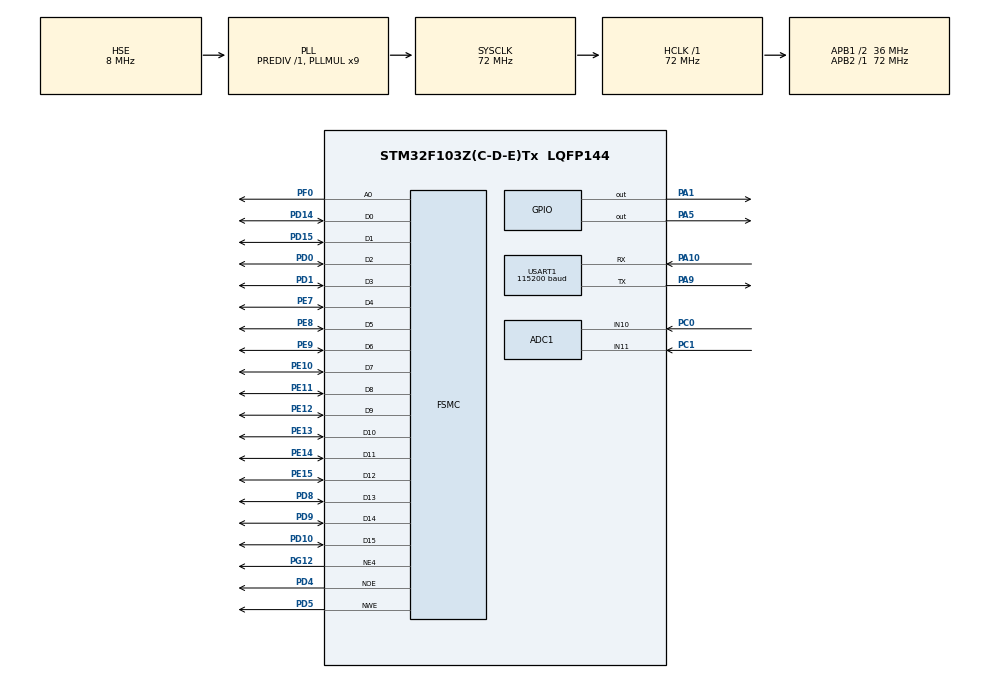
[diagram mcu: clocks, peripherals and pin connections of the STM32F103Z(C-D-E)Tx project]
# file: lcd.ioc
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ADC1.Channel-0\#ChannelRegularConversion=ADC_CHANNEL_11
ADC1.Channel-1\#ChannelRegularConversion=ADC_CHANNEL_10
ADC1.ScanConvMode=ADC_SCAN_ENABLE
ADC1.ExternalTrigConv=ADC_EXTERNALTRIGCONV_T3_TRGO
ADC1.NbrOfConversionFlag=2
ADC1.Rank-0\#ChannelRegularConversion=1
ADC1.Rank-1\#ChannelRegularConversion=2
ADC1.SamplingTime-0\#ChannelRegularConversion=ADC_SAMPLETIME_239CYCLES_5
ADC1.SamplingTime-1\#ChannelRegularConversion=ADC_SAMPLETIME_239CYCLES_5
ADC1.master=1
Dma.ADC1.0.Direction=DMA_PERIPH_TO_MEMORY
Dma.ADC1.0.Instance=DMA1_Channel1
Dma.ADC1.0.MemDataAlignment=DMA_MDATAALIGN_HALFWORD
Dma.ADC1.0.MemInc=DMA_MINC_ENABLE
Dma.ADC1.0.Mode=DMA_CIRCULAR
Dma.ADC1.0.PeriphDataAlignment=DMA_PDATAALIGN_HALFWORD
Dma.ADC1.0.PeriphInc=DMA_PINC_DISABLE
Dma.ADC1.0.Priority=DMA_PRIORITY_HIGH
Dma.Request0=ADC1
FSMC.AddressSetupTime4=15
FSMC.BusTurnAroundDuration4=0
FSMC.DataSetupTime4=60
FSMC.ExtendedAddressSetupTime4=9
FSMC.ExtendedBusTurnAroundDuration4=0
FSMC.ExtendedDataSetupTime4=8
FSMC.ExtendedMode4=FSMC_EXTENDED_MODE_ENABLE
Mcu.Family=STM32F1
Mcu.Name=STM32F103Z(C-D-E)Tx
Mcu.Package=LQFP144
NVIC.ADC1_2_IRQn=true\:0\:0\:false\:false\:true\:true\:true\:true
NVIC.DMA1_Channel1_IRQn=true\:0\:0\:false\:false\:true\:true\:true\:true
NVIC.PriorityGroup=NVIC_PRIORITYGROUP_4
OSC_IN.Mode=HSE-External-Oscillator
OSC_IN.Signal=RCC_OSC_IN
OSC_OUT.Mode=HSE-External-Oscillator
OSC_OUT.Signal=RCC_OSC_OUT
PA1.GPIO_PuPd=GPIO_PULLUP
PA1.GPIO_Speed=GPIO_SPEED_FREQ_HIGH
PA1.PinState=GPIO_PIN_RESET
PA1.Signal=GPIO_Output
PA10.Mode=Asynchronous
PA10.Signal=USART1_RX
PA5.PinState=GPIO_PIN_SET
PA5.Signal=GPIO_Output
PA9.Mode=Asynchronous
PA9.Signal=USART1_TX
PC0.Signal=ADCx_IN10
PC1.Signal=ADCx_IN11
PD0.Signal=FSMC_D2_DA2
PD1.Signal=FSMC_D3_DA3
PD10.Signal=FSMC_D15_DA15
PD14.Signal=FSMC_D0_DA0
PD15.Signal=FSMC_D1_DA1
PD4.Signal=FSMC_NOE
PD5.Signal=FSMC_NWE
PD8.Signal=FSMC_D13_DA13
PD9.Signal=FSMC_D14_DA14
PE10.Signal=FSMC_D7_DA7
PE11.Signal=FSMC_D8_DA8
PE12.Signal=FSMC_D9_DA9
PE13.Signal=FSMC_D10_DA10
PE14.Signal=FSMC_D11_DA11
PE15.Signal=FSMC_D12_DA12
PE7.Signal=FSMC_D4_DA4
PE8.Signal=FSMC_D5_DA5
PE9.Signal=FSMC_D6_DA6
PF0.Signal=FSMC_A0
PG12.Mode=NorPsramChipSelect4_4
PG12.Signal=FSMC_NE4
ProjectManager.HeapSize=0x400
ProjectManager.StackSize=0x800
ProjectManager.TargetToolchain=STM32CubeIDE
RCC.ADCPresc=RCC_ADCPCLK2_DIV6
RCC.AHBFreq_Value=72000000
RCC.APB1CLKDivider=RCC_HCLK_DIV2
RCC.APB1Freq_Value=36000000
RCC.APB1TimFreq_Value=72000000
RCC.APB2Freq_Value=72000000
RCC.APB2TimFreq_Value=72000000
RCC.HCLKFreq_Value=72000000
RCC.PLLMUL=RCC_PLL_MUL9
RCC.PLLSourceVirtual=RCC_PLLSOURCE_HSE
RCC.SYSCLKFreq_VALUE=72000000
RCC.SYSCLKSource=RCC_SYSCLKSOURCE_PLLCLK
RCC.USBFreq_Value=72000000
SH.ADCx_IN10.0=ADC1_IN10,IN10
SH.ADCx_IN11.0=ADC1_IN11,IN11
SH.FSMC_A0.0=FSMC_A0,A0_4
SH.FSMC_D0_DA0.0=FSMC_D0,16b-d4
SH.FSMC_D10_DA10.0=FSMC_D10,16b-d4
SH.FSMC_D11_DA11.0=FSMC_D11,16b-d4
SH.FSMC_D12_DA12.0=FSMC_D12,16b-d4
SH.FSMC_D13_DA13.0=FSMC_D13,16b-d4
SH.FSMC_D14_DA14.0=FSMC_D14,16b-d4
SH.FSMC_D15_DA15.0=FSMC_D15,16b-d4
SH.FSMC_D1_DA1.0=FSMC_D1,16b-d4
SH.FSMC_D2_DA2.0=FSMC_D2,16b-d4
SH.FSMC_D3_DA3.0=FSMC_D3,16b-d4
SH.FSMC_D4_DA4.0=FSMC_D4,16b-d4
SH.FSMC_D5_DA5.0=FSMC_D5,16b-d4
SH.FSMC_D6_DA6.0=FSMC_D6,16b-d4
SH.FSMC_D7_DA7.0=FSMC_D7,16b-d4
SH.FSMC_D8_DA8.0=FSMC_D8,16b-d4
SH.FSMC_D9_DA9.0=FSMC_D9,16b-d4
SH.FSMC_NOE.0=FSMC_NOE,Lcd4
SH.FSMC_NWE.0=FSMC_NWE,Lcd4
TIM3.Period=1999
TIM3.Prescaler=71
TIM3.TIM_MasterOutputTrigger=TIM_TRGO_UPDATE
USART1.BaudRate=115200
USART1.VirtualMode=VM_ASYNC
VP_SYS_VS_SWD.Mode=Serial_Wire
VP_TIM3_VS_ClockSourceINT.Mode=Internal
board=custom

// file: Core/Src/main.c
/* USER CODE BEGIN Header */
/**
  ******************************************************************************
  * @file           : main.c
  * @brief          : Main program body
  ******************************************************************************
  * @attention
  *
  * Copyright (c) 2026 STMicroelectronics.
  * All rights reserved.
  *
  * This software is licensed under terms that can be found in the LICENSE file
  * in the root directory of this software component.
  * If no LICENSE file comes with this software, it is provided AS-IS.
  *
  ******************************************************************************
  */
/* USER CODE END Header */
#include "main.h"
#include "adc.h"
#include "dma.h"
#include "tim.h"
#include "usart.h"
#include "gpio.h"
#include "fsmc.h"

/* USER CODE BEGIN Includes */
#include <stdio.h>
#include "ssd1289_fsmc.h"
#include "app_config.h"
/* 应用实现按功能拆在 Core/Src/BSP/，这里只 include 各模块的对外接口 */
#include "bsp_adc_acquire.h"
#include "bsp_adc_cal.h"
#include "bsp_anes.h"
#include "bsp_iwdg.h"
#include "bsp_fault.h"
#include "bsp_sdlog.h"
/* USER CODE END Includes */

/* USER CODE BEGIN PV */
volatile uint8_t  lcd_ready = 0;     /* LCD 可用标志：Error_Handler 据此决定能否上屏报错 */
volatile uint32_t error_cause = 0;   /* Error_Handler 反推出的失败阶段位图（见其实现） */

/* USER CODE END PV */

void SystemClock_Config(void);

/* USER CODE BEGIN 0 */
/* 本文件只保留"编排"：初始化顺序、主循环节拍、界面刷新与错误处理。
 * 手写实现按功能拆在 Core/Src/BSP/（对外接口见上面的 Includes）：
 *   bsp_adc_acquire.c 采集链路：DMA 缓冲、块内抽取、Butterworth 低通、停摆监测与恢复
 *   bsp_adc_cal.c     上电零点标定 + 电导换算（零点的唯一来源）
 *   bsp_sdlog.c       SD 卡 CSV 记录：触发判定 + 批量写卡
 *   bsp_anes.c        麻醉状态判定（相对差 + 迟滞）
 *   bsp_iwdg.c        独立看门狗（启动与喂狗）
 *   bsp_fault.c       故障/劣化标记的时间窗（告警红块的判据来源） */
/* USER CODE END 0 */

int main(void)
{

  /* MCU Configuration--------------------------------------------------------*/

  /* Reset of all peripherals, Initializes the Flash interface and the Systick. */
  HAL_Init();

  /* Configure the system clock */
  SystemClock_Config();

  /* Initialize all configured peripherals */
  MX_GPIO_Init();
  MX_DMA_Init();
  MX_FSMC_Init();
  MX_ADC1_Init();
  MX_TIM3_Init();
  MX_USART1_UART_Init();
  /* USER CODE BEGIN 2 */
  /* 启动采集链路：上电校准 ADC（F1 必要，减小偏移温漂）后以 DMA 循环模式启动 ——
   * TIM3 500Hz 触发双通道扫描 → DMA 搬入循环缓冲 → 半区满(20ms)在中断里抽取+滤波
   * → 主循环按 adc_seq 消费（见 bsp_adc_acquire.c） */
  adc_acquire_start();
  HAL_GPIO_WritePin(GPIOA, GPIO_PIN_1, GPIO_PIN_SET);   /* PA1 = 背光：上电点亮 */
  /* 背光点亮后的稳定等待：这 100ms 没有手册依据，是"等面板上电稳定"的经验判断
   * （实机上这版时序可用）。没有实物对比时不要删掉或改小 —— 后面的初始化都以此为前提 */
  HAL_Delay(100);
  LCD_Init();
  LCD_InitLayout();           /* 灰底 + 白色分隔线 + 三行固定标签 */
  /* 此处不预画数值：零点尚未标定，三行数值保持空白由状态行的 CAL 提示说明，
   * 免得把没有意义的 0.00 当成读数（零点标定合格后首次刷新即填入） */
  lcd_ready = 1;              /* 此后 Error_Handler 可以上屏报错 */
  bsp_iwdg_init();            /* 独立看门狗 ≈1s，主循环喂狗 */

  /* SD 卡记录：挂载文件系统、扫描已有 LOGxxxx.CSV 确定下一个序号。
   * 无卡/卡不可用不是致命错误 —— 采集、显示照常工作，
   * 之后插卡由 bsp_sdlog_task 自动重试挂载。放在 IWDG 之后调用：
   * 挂载可能耗时几十 ms，此时狗已启动，不能有更长的阻塞 */
  bsp_sdlog_init();
  /* USER CODE END 2 */

  /* Infinite loop */
  /* USER CODE BEGIN WHILE */
  uint16_t last_seq = 0;         /* 已消费到的有效样本序号（adc_seq 回绕安全） */
  uint32_t last_lcd_update = 0;  /* 上次刷屏时刻 */

  while (1)
  {
	  bsp_iwdg_feed();       /* 喂狗 */

	  adc_stall_monitor();   /* 采集链路停摆监测（见其头文件说明） */

	  adc_cal_task();        /* 上电零点标定：取到合格零点前一直重采 */
	  bsp_sdlog_task();      /* SD 记录：开/停判定、批量写卡、拔插卡处理 */

	  if (adc_seq != last_seq)
	  {
		  /* 一次消费跨过多个样本 = 主循环被拖慢（典型：整屏列重写叠加 500ms 文本刷新），
		   * 中间样本被静默丢弃：波形横轴按"每次 push 一列"推进，时基会悄悄压缩。
		   * 只记时间戳交给告警块 —— 补不回来，也不该让波形假装没丢。
		   * 判据只在 cal_done 之后生效：采集链路在 LCD 初始化之前就启动了，第一次进
		   * 循环时 adc_seq 已经十几，这段"消费端还没上班"的差额不是主循环被拖慢；
		   * 下面的 last_seq = adc_seq 会在首次进本分支时就把序号对齐，其后的差额才算。
		   * 标定期间也不需要它：那时不推波形、不显示数值，没有任何东西被消费 */
		  if (cal_done && (uint16_t)(adc_seq - last_seq) > 1u) { adc_drop_ms = HAL_GetTick(); }
		  last_seq = adc_seq;
		  /* 零点没标定出来之前不推波形、不发串口：此时 cal_off 还是 0，
		   * 波形画的、串口发的是"没减零点的原始电导"，而屏上数值是空白的 ——
		   * 上报与显示不一致，且标定一直不成功时会无限期发这种无意义数据。
		   * 与屏上保持一致：不确定就不输出 */
		  if (cal_done)
		  {
			  adc_sample_t s;

			  /* 本样本只取一次快照，波形/状态判定/SD 记录共用同一份，
			   * 三处字面必然一致（快照为什么必要见 adc_read_sample 的说明） */
			  adc_read_sample(&s);

			  /* 双波形实时更新；valid=0 时该列留缺口，不把旧值再画一遍 */
			  LCD_WaveformPush(s.g1, s.g2, s.valid);
			  /* SD 卡记录：内部只做阈值判定 + 入队（微秒级），
			   * 实际写卡在主循环的 bsp_sdlog_task 里批量完成 */
			  bsp_sdlog_feed(&s);
		  }
	  }

	  if (HAL_GetTick() - last_lcd_update >= 500)
	  {
		  last_lcd_update = HAL_GetTick();
		  if (!cal_done)
		  {
			  /* 标定中：状态行提示，避免把未减零点的数值当读数；
			   * 最近一轮均值不合格则转红，提示是信号不合规而非死机 */
			  LCD_DrawCalText(cal_fail);
		  }
		  else
		  {
			  /* 判定与显示用同一份数值：取自同一关中断快照（与波形同一条路径），
			   * 免得"状态按 A 判、数值显示 B"；anes_update 内部持有迟滞记忆与
			   * 持续时间确认，返回值就是要显示的状态。
			   * 标定合格后的首次调用会覆盖掉 CAL 提示（见 status_cal） */
			  adc_sample_t s;
			  adc_read_sample(&s);
			  LCD_DrawSkinText(s.g1, s.g2, anes_update(s.g1, s.g2));
		  }
		  /* 告警标记：状态行右端红块 = 时间窗内发生过 ADC/DMA 错误、采集停摆、上报停摆、
		   * 抗扰块剔除（数据质量）或消费端丢样本（时基被压缩）。这些计数器都只增不减，
		   * 不能直接拿来判据 —— 那样一次上电瞬态或一次已成功恢复的故障会让红块永久保持
		   * 红色，"已恢复的过去"与"正在发生的现在"在屏上无法区分，红块就失去了告警意义。
		   * 改为只看窗口内是否发生过（mark_alive）：故障结束 ALARM_WINDOW_MS 后自动熄灭，
		   * 故障持续则每次恢复都刷新时间戳、持续点亮。
		   * 后两项不是链路故障而是数据质量：受扰块被剔除时显示值保持原值（曲线看着"很稳"，
		   * 滤波窗也不推进），丢样本时波形时基悄悄压缩 —— 不接进来就完全看不见。
		   * 整块受 ALARM_SHOW 总开关约束（app_config.h）：置 0 时不计算也不画 */
		  if (ALARM_SHOW)
		  {	uint8_t alarm = (mark_alive(&adc_err_ms) ||
		                     mark_alive(&adc_stall_ms) ||
		                     mark_alive(&adc_spike_ms) ||
		                     mark_alive(&adc_drop_ms)) ? 1 : 0;
			/* 每次刷新无条件重绘：LCD_DrawSkinText 在状态切换时会整行擦灰，
			 * 若只在状态变化时画红块，红块会被擦掉后永久消失 */
			LCD_Rect_Fill(SCREEN_W - 16, LAYOUT_STATUS_Y, 16, 16, alarm ? RED : GRAY);
		  }
		  /* SD 记录指示（红色 REC）：与告警块一样每轮无条件重绘 ——
		   * LCD_DrawSkinText 状态切换时整行擦灰，只在变化时画会被擦掉。
		   * 放在 ALARM_SHOW 之外：这是"数据正在落盘"的反馈，
		   * 与告警上屏总开关无关，关告警时也必须能看见 */
		  LCD_DrawRecFlag(bsp_sdlog_state() == SDLOG_RECORDING);
	  }
    /* USER CODE END WHILE */

    /* USER CODE BEGIN 3 */
    __WFI();   /* 睡眠模式（SLEEPDEEP=0）：TIM3/ADC/DMA 持续运行，仅内核时钟门控。
                * 任意中断唤醒——DMA 半区满(20ms)推波形，SysTick(1ms)兜底驱动 500ms
                * 文本刷新与喂狗。最坏唤醒延迟 1ms，相对 20ms 帧周期可忽略 */
  }
  /* USER CODE END 3 */
}

void SystemClock_Config(void)
{
  RCC_OscInitTypeDef RCC_OscInitStruct = {0};
  RCC_ClkInitTypeDef RCC_ClkInitStruct = {0};
  RCC_PeriphCLKInitTypeDef PeriphClkInit = {0};

  /** Initializes the RCC Oscillators according to the specified parameters
  * in the RCC_OscInitTypeDef structure.
  */
  RCC_OscInitStruct.OscillatorType = RCC_OSCILLATORTYPE_HSE;
  RCC_OscInitStruct.HSEState = RCC_HSE_ON;
  RCC_OscInitStruct.HSEPredivValue = RCC_HSE_PREDIV_DIV1;
  RCC_OscInitStruct.HSIState = RCC_HSI_ON;
  RCC_OscInitStruct.PLL.PLLState = RCC_PLL_ON;
  RCC_OscInitStruct.PLL.PLLSource = RCC_PLLSOURCE_HSE;
  RCC_OscInitStruct.PLL.PLLMUL = RCC_PLL_MUL9;
  if (HAL_RCC_OscConfig(&RCC_OscInitStruct) != HAL_OK)
  {
    Error_Handler();
  }

  /** Initializes the CPU, AHB and APB buses clocks
  */
  RCC_ClkInitStruct.ClockType = RCC_CLOCKTYPE_HCLK|RCC_CLOCKTYPE_SYSCLK
                              |RCC_CLOCKTYPE_PCLK1|RCC_CLOCKTYPE_PCLK2;
  RCC_ClkInitStruct.SYSCLKSource = RCC_SYSCLKSOURCE_PLLCLK;
  RCC_ClkInitStruct.AHBCLKDivider = RCC_SYSCLK_DIV1;
  RCC_ClkInitStruct.APB1CLKDivider = RCC_HCLK_DIV2;
  RCC_ClkInitStruct.APB2CLKDivider = RCC_HCLK_DIV1;

  if (HAL_RCC_ClockConfig(&RCC_ClkInitStruct, FLASH_LATENCY_2) != HAL_OK)
  {
    Error_Handler();
  }
  PeriphClkInit.PeriphClockSelection = RCC_PERIPHCLK_ADC;
  PeriphClkInit.AdcClockSelection = RCC_ADCPCLK2_DIV6;
  if (HAL_RCCEx_PeriphCLKConfig(&PeriphClkInit) != HAL_OK)
  {
    Error_Handler();
  }
}

/* USER CODE BEGIN 4 */
/* 本区原有实现已按功能拆到 Core/Src/BSP/：
 *   bsp_iwdg.c         bsp_iwdg_init（原 MX_IWDG_Init）
 *   bsp_adc_acquire.c  adc_stall_recover / adc_stall_monitor /
 *                      HAL_ADC_ErrorCallback / HAL_ADC_ConvHalfCpltCallback /
 *                      HAL_ADC_ConvCpltCallback
 *   bsp_sdlog.c        SD 卡记录（阈值判定 / CSV 写入 / 拔插卡） */
/* USER CODE END 4 */

void Error_Handler(void)
{
  /* USER CODE BEGIN Error_Handler_Debug */
  __disable_irq();

  /* 失败原因位图：不在 CubeMX 生成的初始化代码里插桩（那些行重新生成就会被改掉），
   * 而是直接读硬件事实 —— 振荡器就绪位 + 各外设时钟使能位。位含义：
   *   0x01 HSE 就绪  0x02 PLL 就绪  0x04 FSMC  0x08 ADC1  0x10 TIM3  0x20 USART1
   * 全 0 → 卡在时钟配置；逐位补齐 → 卡在后面对应的那个外设初始化上 */
  error_cause = (READ_BIT(RCC->CR, RCC_CR_HSERDY) ? 0x01u : 0u)
              | (READ_BIT(RCC->CR, RCC_CR_PLLRDY) ? 0x02u : 0u)
              | (READ_BIT(RCC->AHBENR, RCC_AHBENR_FSMCEN) ? 0x04u : 0u)
              | (READ_BIT(RCC->APB2ENR, RCC_APB2ENR_ADC1EN) ? 0x08u : 0u)
              | (READ_BIT(RCC->APB1ENR, RCC_APB1ENR_TIM3EN) ? 0x10u : 0u)
              | (READ_BIT(RCC->APB2ENR, RCC_APB2ENR_USART1EN) ? 0x20u : 0u);

  /* LCD 已初始化时整屏红底 + 原因码报错（不用字库，避免复制 4KB 字模表）。
   * 字符格内的灰底来自 LCD_Ascii8x16 的实现（非亮点写 GRAY），红屏上会看到灰字格 ——
   * 诊断优先，不为错误屏单独做反色绘制。若 IWDG 已启动，约 1s 后复位重启 */
  if (lcd_ready)
  {
    char msg[16];

    LCD_Rect_Fill(0, 0, SCREEN_W, SCREEN_H, RED);
    snprintf(msg, sizeof msg, "ERR=%02lX", (unsigned long)error_cause);
    LCD_Ascii8x16(8, 8, msg, WHITE);
  }
  else
  {
    /* 屏还没起来（典型：SystemClock_Config 里 HSE 起振失败）——
     * 此时看门狗尚未启动，若只是死等就彻底没救了（屏亮着但全黑、不重启）。
     * 先把自己交给看门狗：万一只是上电瞬态，约 1s 后能自动重来一次。
     * 这条路径上 error_cause 上不了屏，但仍留在 RAM 里，接调试器可读 */
    bsp_iwdg_init();
  }
  while (1)
  {
  }
  /* USER CODE END Error_Handler_Debug */
}
